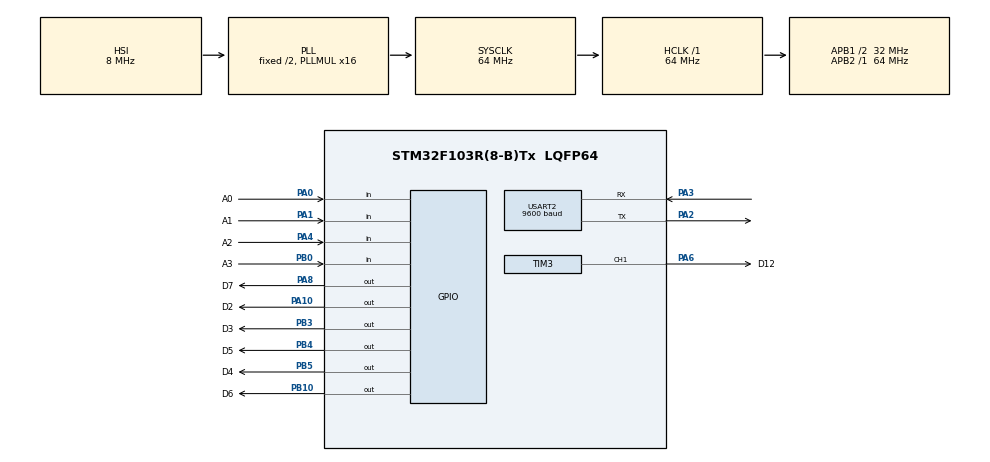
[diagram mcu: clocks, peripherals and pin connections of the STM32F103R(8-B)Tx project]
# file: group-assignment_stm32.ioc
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Mcu.Family=STM32F1
Mcu.Name=STM32F103R(8-B)Tx
Mcu.Package=LQFP64
NVIC.PriorityGroup=NVIC_PRIORITYGROUP_4
NVIC.TIM2_IRQn=true\:0\:0\:false\:false\:true\:true\:true
NVIC.USART2_IRQn=true\:0\:0\:false\:false\:true\:true\:true
PA0-WKUP.GPIO_Label=A0
PA0-WKUP.Signal=GPIO_Input
PA1.GPIO_Label=A1
PA1.Signal=GPIO_Input
PA10.GPIO_Label=D2
PA10.Signal=GPIO_Output
PA13.Mode=Serial_Wire
PA13.Signal=SYS_JTMS-SWDIO
PA14.Mode=Serial_Wire
PA14.Signal=SYS_JTCK-SWCLK
PA2.Mode=Asynchronous
PA2.Signal=USART2_TX
PA3.Mode=Asynchronous
PA3.Signal=USART2_RX
PA4.GPIO_Label=A2
PA4.Signal=GPIO_Input
PA6.GPIO_Label=D12
PA6.Signal=S_TIM3_CH1
PA8.GPIO_Label=D7
PA8.Signal=GPIO_Output
PB0.GPIO_Label=A3
PB0.Signal=GPIO_Input
PB10.GPIO_Label=D6
PB10.Signal=GPIO_Output
PB3.GPIO_Label=D3
PB3.Signal=GPIO_Output
PB4.GPIO_Label=D5
PB4.Signal=GPIO_Output
PB5.GPIO_Label=D4
PB5.Signal=GPIO_Output
ProjectManager.HeapSize=0x200
ProjectManager.StackSize=0x400
ProjectManager.TargetToolchain=STM32CubeIDE
RCC.AHBFreq_Value=64000000
RCC.APB1CLKDivider=RCC_HCLK_DIV2
RCC.APB1Freq_Value=32000000
RCC.APB1TimFreq_Value=64000000
RCC.APB2Freq_Value=64000000
RCC.APB2TimFreq_Value=64000000
RCC.HCLKFreq_Value=64000000
RCC.PLLMUL=RCC_PLL_MUL16
RCC.SYSCLKFreq_VALUE=64000000
RCC.SYSCLKSource=RCC_SYSCLKSOURCE_PLLCLK
RCC.USBFreq_Value=64000000
SH.S_TIM3_CH1.0=TIM3_CH1,PWM Generation1 CH1
TIM2.Period=10
TIM2.Prescaler=63999
TIM3.Channel-PWM\ Generation1\ CH1=TIM_CHANNEL_1
TIM3.Period=999
TIM3.Prescaler=63
USART2.BaudRate=9600
USART2.VirtualMode=VM_ASYNC
VP_TIM2_VS_ClockSourceINT.Mode=Internal
VP_TIM3_VS_ClockSourceINT.Mode=Internal
board=custom

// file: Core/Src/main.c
/* USER CODE BEGIN Header */
/**
  ******************************************************************************
  * @file           : main.c
  * @brief          : Main program body
  ******************************************************************************
  * @attention
  *
  * <h2><center>&copy; Copyright (c) 2022 STMicroelectronics.
  * All rights reserved.</center></h2>
  *
  * This software component is licensed by ST under BSD 3-Clause license,
  * the "License"; You may not use this file except in compliance with the
  * License. You may obtain a copy of the License at:
  *                        opensource.org/licenses/BSD-3-Clause
  *
  ******************************************************************************
  */
/* USER CODE END Header */
#include "main.h"

/* USER CODE BEGIN Includes */
#include <stdio.h>
#include "global.h"
#include "input_processing.h"
#include "fsm_automatic.h"
/* USER CODE END Includes */

TIM_HandleTypeDef htim2;
TIM_HandleTypeDef htim3;

UART_HandleTypeDef huart2;

void SystemClock_Config(void);
static void MX_GPIO_Init(void);
static void MX_TIM2_Init(void);
static void MX_USART2_UART_Init(void);
static void MX_TIM3_Init(void);

/* USER CODE BEGIN 0 */
uint8_t temp = 0;
void HAL_UART_RxCpltCallback(UART_HandleTypeDef * huart) {
	if ( huart -> Instance == USART2 ) {
		HAL_UART_Transmit (&huart2 , &temp , 1 , 50) ;
		HAL_UART_Receive_IT (&huart2 , &temp , 1) ;
	}
}
/* USER CODE END 0 */

int main(void)
{

  /* MCU Configuration--------------------------------------------------------*/

  /* Reset of all peripherals, Initializes the Flash interface and the Systick. */
  HAL_Init();

  /* Configure the system clock */
  SystemClock_Config();

  /* Initialize all configured peripherals */
  MX_GPIO_Init();
  MX_TIM2_Init();
  MX_USART2_UART_Init();
  MX_TIM3_Init();
  /* USER CODE BEGIN 2 */
  HAL_UART_Receive_IT (&huart2 , &temp , 1) ;
  HAL_TIM_Base_Start_IT (&htim2);
  HAL_TIM_PWM_Start(&htim3, TIM_CHANNEL_1);
  /* USER CODE END 2 */

  /* Infinite loop */
  /* USER CODE BEGIN WHILE */
  initSomeVariables();
  while (1)
  {
	  fsm_for_input_processing();
    /* USER CODE END WHILE */

  }
}

void SystemClock_Config(void)
{
  RCC_OscInitTypeDef RCC_OscInitStruct = {0};
  RCC_ClkInitTypeDef RCC_ClkInitStruct = {0};

  /** Initializes the RCC Oscillators according to the specified parameters
  * in the RCC_OscInitTypeDef structure.
  */
  RCC_OscInitStruct.OscillatorType = RCC_OSCILLATORTYPE_HSI;
  RCC_OscInitStruct.HSIState = RCC_HSI_ON;
  RCC_OscInitStruct.HSICalibrationValue = RCC_HSICALIBRATION_DEFAULT;
  RCC_OscInitStruct.PLL.PLLState = RCC_PLL_ON;
  RCC_OscInitStruct.PLL.PLLSource = RCC_PLLSOURCE_HSI_DIV2;
  RCC_OscInitStruct.PLL.PLLMUL = RCC_PLL_MUL16;
  if (HAL_RCC_OscConfig(&RCC_OscInitStruct) != HAL_OK)
  {
    Error_Handler();
  }
  /** Initializes the CPU, AHB and APB buses clocks
  */
  RCC_ClkInitStruct.ClockType = RCC_CLOCKTYPE_HCLK|RCC_CLOCKTYPE_SYSCLK
                              |RCC_CLOCKTYPE_PCLK1|RCC_CLOCKTYPE_PCLK2;
  RCC_ClkInitStruct.SYSCLKSource = RCC_SYSCLKSOURCE_PLLCLK;
  RCC_ClkInitStruct.AHBCLKDivider = RCC_SYSCLK_DIV1;
  RCC_ClkInitStruct.APB1CLKDivider = RCC_HCLK_DIV2;
  RCC_ClkInitStruct.APB2CLKDivider = RCC_HCLK_DIV1;

  if (HAL_RCC_ClockConfig(&RCC_ClkInitStruct, FLASH_LATENCY_2) != HAL_OK)
  {
    Error_Handler();
  }
}

static void MX_TIM2_Init(void)
{

  TIM_ClockConfigTypeDef sClockSourceConfig = {0};
  TIM_MasterConfigTypeDef sMasterConfig = {0};

  htim2.Instance = TIM2;
  htim2.Init.Prescaler = 63999;
  htim2.Init.CounterMode = TIM_COUNTERMODE_UP;
  htim2.Init.Period = 10;
  htim2.Init.ClockDivision = TIM_CLOCKDIVISION_DIV1;
  htim2.Init.AutoReloadPreload = TIM_AUTORELOAD_PRELOAD_DISABLE;
  if (HAL_TIM_Base_Init(&htim2) != HAL_OK)
  {
    Error_Handler();
  }
  sClockSourceConfig.ClockSource = TIM_CLOCKSOURCE_INTERNAL;
  if (HAL_TIM_ConfigClockSource(&htim2, &sClockSourceConfig) != HAL_OK)
  {
    Error_Handler();
  }
  sMasterConfig.MasterOutputTrigger = TIM_TRGO_RESET;
  sMasterConfig.MasterSlaveMode = TIM_MASTERSLAVEMODE_DISABLE;
  if (HAL_TIMEx_MasterConfigSynchronization(&htim2, &sMasterConfig) != HAL_OK)
  {
    Error_Handler();
  }

}

static void MX_TIM3_Init(void)
{

  TIM_ClockConfigTypeDef sClockSourceConfig = {0};
  TIM_MasterConfigTypeDef sMasterConfig = {0};
  TIM_OC_InitTypeDef sConfigOC = {0};

  htim3.Instance = TIM3;
  htim3.Init.Prescaler = 63;
  htim3.Init.CounterMode = TIM_COUNTERMODE_UP;
  htim3.Init.Period = 999;
  htim3.Init.ClockDivision = TIM_CLOCKDIVISION_DIV1;
  htim3.Init.AutoReloadPreload = TIM_AUTORELOAD_PRELOAD_DISABLE;
  if (HAL_TIM_Base_Init(&htim3) != HAL_OK)
  {
    Error_Handler();
  }
  sClockSourceConfig.ClockSource = TIM_CLOCKSOURCE_INTERNAL;
  if (HAL_TIM_ConfigClockSource(&htim3, &sClockSourceConfig) != HAL_OK)
  {
    Error_Handler();
  }
  if (HAL_TIM_PWM_Init(&htim3) != HAL_OK)
  {
    Error_Handler();
  }
  sMasterConfig.MasterOutputTrigger = TIM_TRGO_RESET;
  sMasterConfig.MasterSlaveMode = TIM_MASTERSLAVEMODE_DISABLE;
  if (HAL_TIMEx_MasterConfigSynchronization(&htim3, &sMasterConfig) != HAL_OK)
  {
    Error_Handler();
  }
  sConfigOC.OCMode = TIM_OCMODE_PWM1;
  sConfigOC.Pulse = 0;
  sConfigOC.OCPolarity = TIM_OCPOLARITY_HIGH;
  sConfigOC.OCFastMode = TIM_OCFAST_DISABLE;
  if (HAL_TIM_PWM_ConfigChannel(&htim3, &sConfigOC, TIM_CHANNEL_1) != HAL_OK)
  {
    Error_Handler();
  }
  HAL_TIM_MspPostInit(&htim3);

}

static void MX_USART2_UART_Init(void)
{

  huart2.Instance = USART2;
  huart2.Init.BaudRate = 9600;
  huart2.Init.WordLength = UART_WORDLENGTH_8B;
  huart2.Init.StopBits = UART_STOPBITS_1;
  huart2.Init.Parity = UART_PARITY_NONE;
  huart2.Init.Mode = UART_MODE_TX_RX;
  huart2.Init.HwFlowCtl = UART_HWCONTROL_NONE;
  huart2.Init.OverSampling = UART_OVERSAMPLING_16;
  if (HAL_UART_Init(&huart2) != HAL_OK)
  {
    Error_Handler();
  }

}

static void MX_GPIO_Init(void)
{
  GPIO_InitTypeDef GPIO_InitStruct = {0};

  /* GPIO Ports Clock Enable */
  __HAL_RCC_GPIOA_CLK_ENABLE();
  __HAL_RCC_GPIOB_CLK_ENABLE();

  /*Configure GPIO pin Output Level */
  HAL_GPIO_WritePin(GPIOB, D6_Pin|D3_Pin|D5_Pin|D4_Pin, GPIO_PIN_RESET);

  /*Configure GPIO pin Output Level */
  HAL_GPIO_WritePin(GPIOA, D7_Pin|D2_Pin, GPIO_PIN_RESET);

  /*Configure GPIO pins : A0_Pin A1_Pin A2_Pin */
  GPIO_InitStruct.Pin = A0_Pin|A1_Pin|A2_Pin;
  GPIO_InitStruct.Mode = GPIO_MODE_INPUT;
  GPIO_InitStruct.Pull = GPIO_NOPULL;
  HAL_GPIO_Init(GPIOA, &GPIO_InitStruct);

  /*Configure GPIO pin : A3_Pin */
  GPIO_InitStruct.Pin = A3_Pin;
  GPIO_InitStruct.Mode = GPIO_MODE_INPUT;
  GPIO_InitStruct.Pull = GPIO_NOPULL;
  HAL_GPIO_Init(A3_GPIO_Port, &GPIO_InitStruct);

  /*Configure GPIO pins : D6_Pin D3_Pin D5_Pin D4_Pin */
  GPIO_InitStruct.Pin = D6_Pin|D3_Pin|D5_Pin|D4_Pin;
  GPIO_InitStruct.Mode = GPIO_MODE_OUTPUT_PP;
  GPIO_InitStruct.Pull = GPIO_NOPULL;
  GPIO_InitStruct.Speed = GPIO_SPEED_FREQ_LOW;
  HAL_GPIO_Init(GPIOB, &GPIO_InitStruct);

  /*Configure GPIO pins : D7_Pin D2_Pin */
  GPIO_InitStruct.Pin = D7_Pin|D2_Pin;
  GPIO_InitStruct.Mode = GPIO_MODE_OUTPUT_PP;
  GPIO_InitStruct.Pull = GPIO_NOPULL;
  GPIO_InitStruct.Speed = GPIO_SPEED_FREQ_LOW;
  HAL_GPIO_Init(GPIOA, &GPIO_InitStruct);

}

/* USER CODE BEGIN 4 */
void HAL_TIM_PeriodElapsedCallback ( TIM_HandleTypeDef * htim ){
	timerRun();
	getKeyInput();
}

/* USER CODE END 4 */

void Error_Handler(void)
{
  __disable_irq();
  while (1)
  {
  }
}

/************************ (C) COPYRIGHT STMicroelectronics *****END OF FILE****/
